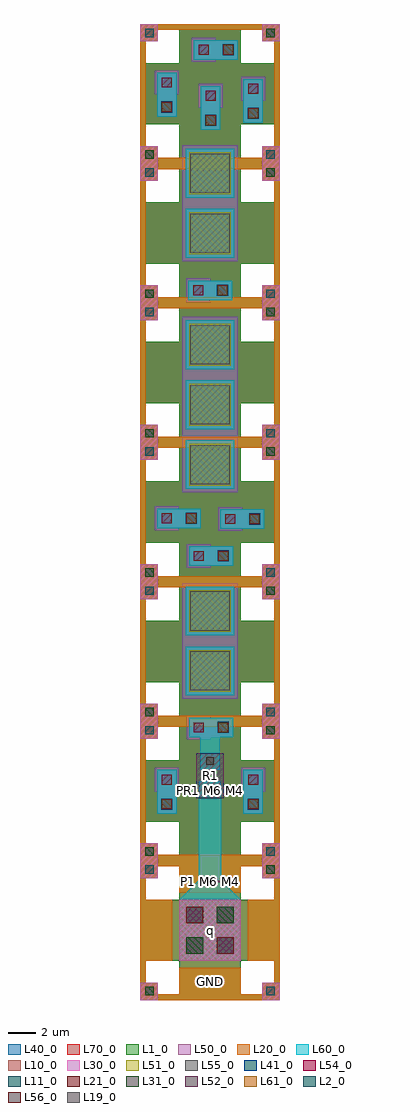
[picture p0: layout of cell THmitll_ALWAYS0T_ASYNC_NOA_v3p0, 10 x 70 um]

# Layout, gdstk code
from math import pi, radians
import gdstk
lib = gdstk.Library(unit=1e-6, precision=1e-09)
def R(c, l, rs):  # rectangles x0, y0, x1, y1
    for r in rs: c.add(gdstk.rectangle(r[:2], r[2:], *l))
def P(c, l, *ps):  # polygons
    for p in ps: c.add(gdstk.Polygon(p, *l))
L1_0 = (1, 0)
L2_0 = (2, 0)
L10_0 = (10, 0)
L11_0 = (11, 0)
L19_0 = (19, 0)
L20_0 = (20, 0)
L21_0 = (21, 0)
L30_0 = (30, 0)
L31_0 = (31, 0)
L40_0 = (40, 0)
L41_0 = (41, 0)
L50_0 = (50, 0)
L51_0 = (51, 0)
L52_0 = (52, 0)
L54_0 = (54, 0)
L55_0 = (55, 0)
L56_0 = (56, 0)
L60_0 = (60, 0)
L61_0 = (61, 0)
L70_0 = (70, 0)

ls_tr_m7 = lib.new_cell('ls_tr_M7')
P(ls_tr_m7, L70_0, [(0,0),(0,10),(1.25,10),(1.25,8.75),(0.4,8.75),(0.4,1.25),(1.25,1.25),(1.25,0.4),(2.8,0.4),(2.8,2.8),(0.4,2.8),(0.4,7.2),(2.8,7.2),(2.8,9.6),(1.25,9.6),(1.25,10),(7.2,10),(7.2,0.4),(8.75,0.4),(8.75,1.25),(9.6,1.25),(9.6,2.8),(7.2,2.8),(7.2,7.2),(9.6,7.2),(9.6,8.75),(8.75,8.75),(8.75,9.6),(7.2,9.6),(7.2,10),(10,10),(10,0)])

ls_tr_u_m4 = lib.new_cell('ls_tr_u_M4')
P(ls_tr_u_m4, L1_0, [(0,0),(0,10),(1.25,10),(1.25,8.75),(0.4,8.75),(0.4,1.25),(1.25,1.25),(1.25,0.4),(2.8,0.4),(2.8,2.8),(0.4,2.8),(0.4,7.2),(2.8,7.2),(2.8,9.6),(1.25,9.6),(1.25,10),(7.2,10),(7.2,0.4),(8.75,0.4),(8.75,1.25),(9.6,1.25),(9.6,2.8),(7.2,2.8),(7.2,7.2),(9.6,7.2),(9.6,8.75),(8.75,8.75),(8.75,9.6),(7.2,9.6),(7.2,10),(10,10),(10,0)])
R(ls_tr_u_m4, L2_0, [(9.05,0.35,9.65,0.95), (0.35,9.05,0.95,9.65)])
R(ls_tr_u_m4, L10_0, [(0,0,1.25,1.25), (8.75,0,10,1.25), (0,8.75,1.25,10), (8.75,8.75,10,10)])
R(ls_tr_u_m4, L11_0, [(0.35,0.35,0.95,0.95), (9.05,9.05,9.65,9.65)])
P(ls_tr_u_m4, L20_0, [(0,0),(0,10),(1.25,10),(1.25,8.75),(0.4,8.75),(0.4,1.25),(1.25,1.25),(1.25,0.4),(8.75,0.4),(8.75,1.25),(9.6,1.25),(9.6,8.75),(8.75,8.75),(8.75,9.6),(1.25,9.6),(1.25,10),(10,10),(10,0)])
R(ls_tr_u_m4, L21_0, [(9.05,0.35,9.65,0.95), (0.35,9.05,0.95,9.65)])
R(ls_tr_u_m4, L30_0, [(0,0,1.25,1.25), (8.75,0,10,1.25), (0,8.75,1.25,10), (8.75,8.75,10,10)])
R(ls_tr_u_m4, L31_0, [(0.35,0.35,0.95,0.95), (9.05,9.05,9.65,9.65)])
P(ls_tr_u_m4, L40_0, [(0,0),(0,10),(1.25,10),(1.25,8.75),(0.4,8.75),(0.4,1.25),(1.25,1.25),(1.25,0.4),(2.8,0.4),(2.8,2.8),(0.4,2.8),(0.4,7.2),(2.8,7.2),(2.8,9.6),(1.25,9.6),(1.25,10),(7.2,10),(7.2,0.4),(8.75,0.4),(8.75,1.25),(9.6,1.25),(9.6,2.8),(7.2,2.8),(7.2,7.2),(9.6,7.2),(9.6,8.75),(8.75,8.75),(8.75,9.6),(7.2,9.6),(7.2,10),(10,10),(10,0)])
ls_tr_u_m4.add(gdstk.Reference(ls_tr_m7, (0,0)))

ls_tr_ptlconnection = lib.new_cell('ls_tr_PTLconnection')
P(ls_tr_ptlconnection, L1_0, [(0,0),(0,10),(1.25,10),(1.25,8.75),(0.4,8.75),(0.4,1.25),(1.25,1.25),(1.25,0.4),(2.8,0.4),(2.8,2.8),(0.4,2.8),(0.4,7.2),(2.8,7.2),(2.8,9.6),(1.25,9.6),(1.25,10),(7.2,10),(7.2,0.4),(8.75,0.4),(8.75,1.25),(9.6,1.25),(9.6,2.8),(7.2,2.8),(7.2,7.2),(9.6,7.2),(9.6,8.75),(8.75,8.75),(8.75,9.6),(7.2,9.6),(7.2,10),(10,10),(10,0)])
R(ls_tr_ptlconnection, L2_0, [(9.05,0.35,9.65,0.95), (0.35,9.05,0.95,9.65)])
R(ls_tr_ptlconnection, L10_0, [(0,0,1.25,1.25), (8.75,0,10,1.25), (2.8,2.8,7.2,7.2), (0,8.75,1.25,10), (8.75,8.75,10,10)])
R(ls_tr_ptlconnection, L11_0, [(0.35,0.35,0.95,0.95), (3.3,3.3,4.5,4.5), (5.5,5.5,6.7,6.7), (9.05,9.05,9.65,9.65)])
R(ls_tr_ptlconnection, L20_0, [(2.8,2.8,7.2,7.2)])
P(ls_tr_ptlconnection, L20_0, [(0,0),(0,10),(7.2,10),(7.2,7.7),(2.8,7.7),(2.8,9.6),(1.25,9.6),(1.25,8.75),(0.4,8.75),(0.4,7.2),(2.3,7.2),(2.3,2.8),(0.4,2.8),(0.4,1.25),(1.25,1.25),(1.25,0.4),(2.8,0.4),(2.8,2.3),(7.2,2.3),(7.2,0.4),(8.75,0.4),(8.75,1.25),(9.6,1.25),(9.6,2.8),(7.7,2.8),(7.7,7.2),(9.6,7.2),(9.6,8.75),(8.75,8.75),(8.75,9.6),(7.2,9.6),(7.2,10),(10,10),(10,0)])
R(ls_tr_ptlconnection, L21_0, [(9.05,0.35,9.65,0.95), (5.5,3.3,6.7,4.5), (3.3,5.5,4.5,6.7), (0.35,9.05,0.95,9.65)])
R(ls_tr_ptlconnection, L30_0, [(0,0,1.25,1.25), (8.75,0,10,1.25), (2.8,2.8,7.2,7.2), (0,8.75,1.25,10), (8.75,8.75,10,10)])
R(ls_tr_ptlconnection, L31_0, [(0.35,0.35,0.95,0.95), (3.3,3.3,4.5,4.5), (5.5,5.5,6.7,6.7), (9.05,9.05,9.65,9.65)])
R(ls_tr_ptlconnection, L40_0, [(2.8,2.8,7.2,7.2)])
P(ls_tr_ptlconnection, L40_0, [(0,0),(0,10),(7.2,10),(7.2,7.7),(2.8,7.7),(2.8,9.6),(1.25,9.6),(1.25,8.75),(0.4,8.75),(0.4,7.2),(2.3,7.2),(2.3,2.8),(0.4,2.8),(0.4,1.25),(1.25,1.25),(1.25,0.4),(2.8,0.4),(2.8,2.3),(7.2,2.3),(7.2,0.4),(8.75,0.4),(8.75,1.25),(9.6,1.25),(9.6,2.8),(7.7,2.8),(7.7,7.2),(9.6,7.2),(9.6,8.75),(8.75,8.75),(8.75,9.6),(7.2,9.6),(7.2,10),(10,10),(10,0)])
R(ls_tr_ptlconnection, L41_0, [(5.5,3.3,6.7,4.5), (3.3,5.5,4.5,6.7)])
R(ls_tr_ptlconnection, L50_0, [(2.8,2.8,7.2,7.2)])
R(ls_tr_ptlconnection, L54_0, [(3.3,3.3,4.5,4.5), (5.5,5.5,6.7,6.7)])
R(ls_tr_ptlconnection, L60_0, [(2.8,2.8,7.2,7.2)])
P(ls_tr_ptlconnection, L70_0, [(0,0),(0,10),(1.25,10),(1.25,8.75),(0.4,8.75),(0.4,1.25),(1.25,1.25),(1.25,0.4),(2.8,0.4),(2.8,2.8),(0.4,2.8),(0.4,7.2),(2.8,7.2),(2.8,9.6),(1.25,9.6),(1.25,10),(7.2,10),(7.2,0.4),(8.75,0.4),(8.75,1.25),(9.6,1.25),(9.6,2.8),(7.2,2.8),(7.2,7.2),(9.6,7.2),(9.6,8.75),(8.75,8.75),(8.75,9.6),(7.2,9.6),(7.2,10),(10,10),(10,0)])

ls_res_2 = lib.new_cell('ls_res_2')
R(ls_res_2, L52_0, [(-1,0,1,3.225)])
R(ls_res_2, L56_0, [(-0.26,0.29,0.26,0.81), (-0.26,2.44,0.26,2.96)])
R(ls_res_2, L60_0, [(-0.625,-0.1,0.625,1.175), (-0.625,2.075,0.625,3.325)])

ls_conn_m4m5m6m7 = lib.new_cell('ls_conn_M4M5M6M7')
R(ls_conn_m4m5m6m7, L40_0, [(0,0,1.4,1.4)])
R(ls_conn_m4m5m6m7, L41_0, [(0.3,0.3,1.1,1.1)])
P(ls_conn_m4m5m6m7, L50_0, [(1.6,-0.15),(1.6,0),(0,0),(0,1.4),(1.6,1.4),(1.6,1.55),(3.3,1.55),(3.3,-0.15)])
R(ls_conn_m4m5m6m7, L54_0, [(2.1,0.35,2.8,1.05)])
R(ls_conn_m4m5m6m7, L60_0, [(0,0,3.15,1.4)])
R(ls_conn_m4m5m6m7, L61_0, [(0.35,0.35,1.05,1.05)])
R(ls_conn_m4m5m6m7, L70_0, [(0,0,1.4,1.4)])

ls_fakejj_3umx3um = lib.new_cell('ls_FakeJJ_3umx3um')
R(ls_fakejj_3umx3um, L40_0, [(-2,-2,2,2)])
R(ls_fakejj_3umx3um, L50_0, [(-2,-2,2,2)])
R(ls_fakejj_3umx3um, L51_0, [(-1.5,-1.5,1.5,1.5)])
R(ls_fakejj_3umx3um, L55_0, [(-1.4,-1.4,1.4,1.4)])
R(ls_fakejj_3umx3um, L60_0, [(-1.75,-1.75,1.75,1.75)])

thmitll_always0t_async_n = lib.new_cell('THmitll_ALWAYS0T_ASYNC_NOA_v3p0')
R(thmitll_always0t_async_n, L19_0, [(4.75,14.75,5.25,15.25)])
R(thmitll_always0t_async_n, L50_0, [(3,21.6,7,29.9), (3,36.4,7,49), (3,53,7,61.3)])
P(thmitll_always0t_async_n, L60_0, [(2.8,7.2),(5,9.4),(7.2,7.2)])
thmitll_always0t_async_n.add(gdstk.FlexPath([(5,15.7),(5,7.2)], 1.6, ends="flush", simple_path=True, layer=60, datatype=0))  # L60_0
thmitll_always0t_async_n.add(gdstk.FlexPath([(5,16.5),(5,19.15)], 1.4, ends="flush", simple_path=True, layer=60, datatype=0))  # L60_0
thmitll_always0t_async_n.add(gdstk.FlexPath([(4.2,8.5),(5.8,8.5)], 0.1, ends="flush", simple_path=True, layer=19, datatype=0))  # L19_0
r = gdstk.Reference(ls_tr_u_m4, (0,10)); r.repetition = gdstk.Repetition(1, 6, v1=(0,0), v2=(0,10)); thmitll_always0t_async_n.add(r)
thmitll_always0t_async_n.add(gdstk.Reference(ls_tr_ptlconnection, (10,10), rotation=pi))
thmitll_always0t_async_n.add(gdstk.Reference(ls_res_2, (5,17.7), rotation=pi))
thmitll_always0t_async_n.add(gdstk.Reference(ls_conn_m4m5m6m7, (6.65,20.25), rotation=pi))
thmitll_always0t_async_n.add(gdstk.Reference(ls_conn_m4m5m6m7, (2.6,13.35), rotation=pi/2))
thmitll_always0t_async_n.add(gdstk.Reference(ls_conn_m4m5m6m7, (8.8,13.35), rotation=pi/2))
r = gdstk.Reference(ls_fakejj_3umx3um, (5,23.6), rotation=pi/2); r.repetition = gdstk.Repetition(2, 1, v1=(0,4.3), v2=(0,0)); thmitll_always0t_async_n.add(r)
thmitll_always0t_async_n.add(gdstk.Reference(ls_conn_m4m5m6m7, (6.65,32.55), rotation=pi))
thmitll_always0t_async_n.add(gdstk.Reference(ls_conn_m4m5m6m7, (4.35,35.25), rotation=pi))
thmitll_always0t_async_n.add(gdstk.Reference(ls_conn_m4m5m6m7, (8.9,35.2), rotation=pi))
r = gdstk.Reference(ls_fakejj_3umx3um, (5,38.4), rotation=pi/2); r.repetition = gdstk.Repetition(3, 1, v1=(0,4.3), v2=(0,0)); thmitll_always0t_async_n.add(r)
thmitll_always0t_async_n.add(gdstk.Reference(ls_conn_m4m5m6m7, (6.6,51.6), rotation=pi))
r = gdstk.Reference(ls_fakejj_3umx3um, (5,55)); r.repetition = gdstk.Repetition(1, 2, v1=(0,0), v2=(0,4.3)); thmitll_always0t_async_n.add(r)
thmitll_always0t_async_n.add(gdstk.Reference(ls_conn_m4m5m6m7, (5.75,62.4), rotation=pi/2))
thmitll_always0t_async_n.add(gdstk.Reference(ls_conn_m4m5m6m7, (2.6,63.35), rotation=pi/2))
thmitll_always0t_async_n.add(gdstk.Reference(ls_conn_m4m5m6m7, (7,68.85), rotation=pi))
thmitll_always0t_async_n.add(gdstk.Reference(ls_conn_m4m5m6m7, (8.8,62.9), rotation=pi/2))
thmitll_always0t_async_n.add(gdstk.Label('GND', (5,1.35), layer=40, texttype=0))
thmitll_always0t_async_n.add(gdstk.Label('P1 M6 M4', (5,8.5), layer=182, texttype=0))
thmitll_always0t_async_n.add(gdstk.Label('PR1 M6 M4', (5,15), layer=182, texttype=0))
thmitll_always0t_async_n.add(gdstk.Label('R1', (5,16.1), layer=52, texttype=11))
thmitll_always0t_async_n.add(gdstk.Label('q', (5,5), layer=60, texttype=5))

lib.write_gds('THmitll_ALWAYS0T_ASYNC_NOA_v3p0.gds')
